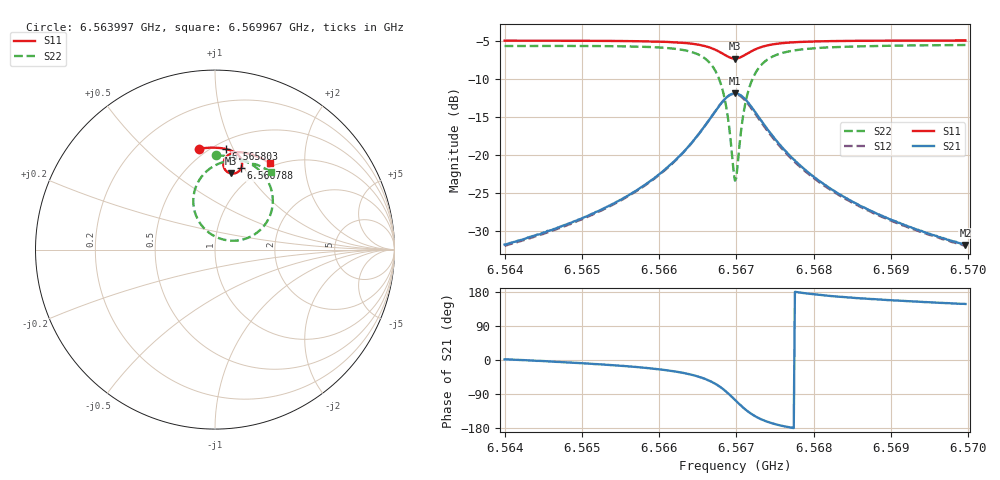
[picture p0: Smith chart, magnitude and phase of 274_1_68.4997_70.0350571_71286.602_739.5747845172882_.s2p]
#  HZ  S  RI  R  50.00
! Rohde & Schwarz Vector Network Analyzer
! Rohde-Schwarz,ZNB20-2Port,1311601062101988,3.16
! Created: UTC 3/20/2024, 5:00:52 PM
! freq[Hz]  re:S11  im:S11  re:S21  im:S21  re:S12  im:S12  re:S22  im:S22
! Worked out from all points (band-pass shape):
!   401 points, 6.563997 GHz to 6.569967 GHz, reference 50 ohm
!   highest |S21| = -11.86 dB at 6.566982 GHz (marker M1); lowest = -31.9 dB at 6.569967 GHz (marker M2)
!   |S21| within 3 dB of the highest: 6.566683 GHz to 6.56728 GHz (597.1 kHz wide, 0.00909 % of centre)
!   lowest |S11| = -7.3 dB at 6.566982 GHz (marker M3), VSWR 2.53, Z = 40.1 + j41.9 ohm
!   |S11| at or under -10 dB: nowhere
!   |S22| runs from -23.4 to -5.5 dB; largest |S21 - S12| = 0.011
!   S11 on the Smith chart (normalised r, x): 6.563997 GHz: 0.45, +0.75; 6.565803 GHz: 0.57, +0.94; 6.566788 GHz: 0.82, +0.97; 6.569967 GHz: 0.95, +1.35
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6.5639969e9  -0.0903 0.5618  0.0256 0.0008  0.0249 0.000432  0.00792 0.5247
6.5649969e9  -0.00989 0.568  0.0376 -0.0057  0.037 -0.00613  0.0983 0.5155
6.5658029e9  0.0619 0.5602  0.059 -0.0218  0.0579 -0.0225  0.1921 0.4815
6.5659969e9  0.0812 0.5549  0.0677 -0.0308  0.0664 -0.0316  0.2213 0.4635
6.5663103e9  0.1152 0.5385  0.0861 -0.0582  0.0847 -0.0594  0.2766 0.4091
6.5665342e9  0.1402 0.5136  0.0996 -0.1014  0.0973 -0.1033  0.3156 0.3257
6.5666835e9  0.1508 0.4837  0.0959 -0.1535  0.0921 -0.156  0.3175 0.2263
6.5667879e9  0.1463 0.4551  0.0705 -0.2025  0.0642 -0.2049  0.2745 0.1339
6.5668775e9  0.1267 0.4319  0.0202 -0.2404  0.0109 -0.2408  0.1835 0.0656
6.5669521e9  0.0994 0.4234  -0.0413 -0.2507  -0.0515 -0.2474  0.074 0.0508
6.566982e9  0.0875 0.4245  -0.0674 -0.2462  -0.0773 -0.2411  0.0288 0.0612
6.5670118e9  0.0761 0.4284  -0.092 -0.2369  -0.101 -0.2299  -0.0131 0.0804
6.5670715e9  0.0579 0.4429  -0.1319 -0.2059  -0.1381 -0.1966  -0.0781 0.1394
6.5671312e9  0.0483 0.4622  -0.1555 -0.1672  -0.1586 -0.1573  -0.1126 0.2097
6.5671909e9  0.0467 0.4814  -0.1644 -0.1294  -0.1649 -0.1202  -0.121 0.2765
6.5672656e9  0.0522 0.5013  -0.1616 -0.09  -0.1605 -0.0825  -0.1084 0.3444
6.567385e9  0.0689 0.5225  -0.1443 -0.0475  -0.1418 -0.0425  -0.0676 0.4152
6.5675342e9  0.0918 0.5358  -0.12 -0.019  -0.1174 -0.0158  -0.0135 0.4614
6.567982e9  0.1482 0.5421  -0.0726 0.00788  -0.071 0.00893  0.0998 0.4961
6.5683999e9  0.1888 0.5345  -0.051 0.0129  -0.0499 0.0134  0.1645 0.4922
6.5689819e9  0.2369 0.5178  -0.0348 0.0141  -0.0343 0.0143  0.2288 0.4744
6.569967e9  0.3073 0.4812  -0.0215 0.0135  -0.021 0.0137  0.3094 0.434
